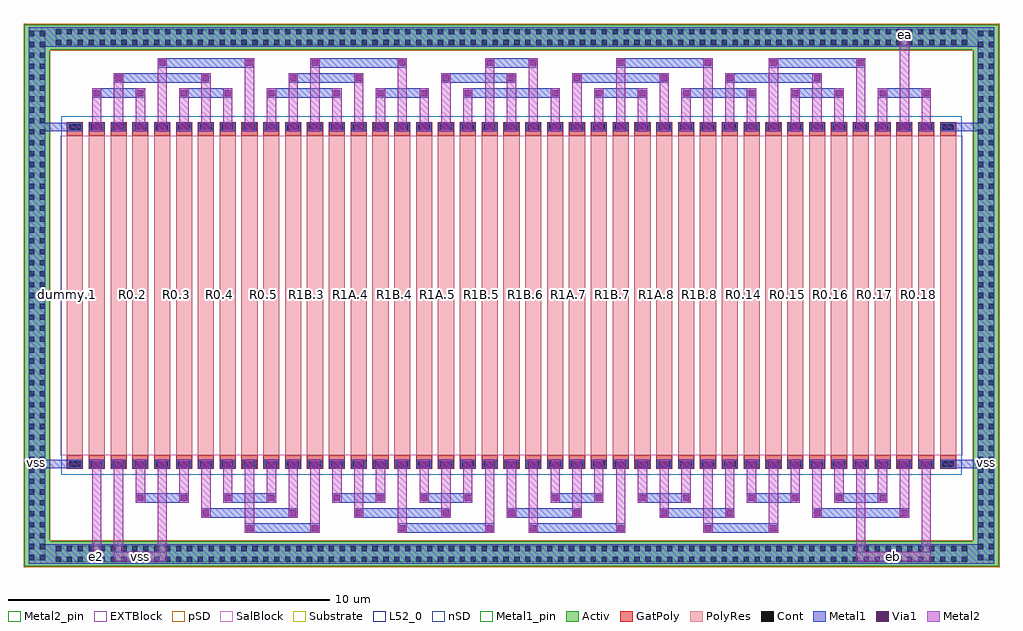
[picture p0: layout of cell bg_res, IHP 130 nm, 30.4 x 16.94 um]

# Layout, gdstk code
import gdstk
lib = gdstk.Library(unit=1e-6, precision=1e-09)
def R(c, l, rs):  # rectangles x0, y0, x1, y1
    for r in rs: c.add(gdstk.rectangle(r[:2], r[2:], *l))
def A(c, l, x, y, w, h, nx, ny, dx, dy):  # array of equal rectangles
    R(c, l, [(x+i*dx, y+j*dy, x+i*dx+w, y+j*dy+h) for i in range(nx) for j in range(ny)])
Activ = (1, 0)
GatPoly = (5, 0)
Cont = (6, 0)
nSD = (7, 0)
Metal1 = (8, 0)
Metal1_pin = (8, 2)
Metal2 = (10, 0)
Metal2_pin = (10, 2)
pSD = (14, 0)
Via1 = (19, 0)
SalBlock = (28, 0)
Substrate = (40, 0)
L52_0 = (52, 0)
EXTBlock = (111, 0)
PolyRes = (128, 0)

rhigh_1 = lib.new_cell('rhigh$1')
R(rhigh_1, GatPoly, [(0,-0.43,0.5,0), (0,9.94,0.5,10.37)])
R(rhigh_1, Cont, [(0.07,-0.36,0.43,-0.2), (0.07,10.14,0.43,10.3)])
R(rhigh_1, nSD, [(-0.18,-0.61,0.68,0.18), (-0.18,0,0.68,9.94), (-0.18,0,0.68,9.94), (-0.18,9.76,0.68,10.55)])
R(rhigh_1, Metal1, [(0.02,-0.41,0.48,-0.15), (0.02,10.09,0.48,10.35)])
R(rhigh_1, Metal1_pin, [(0.02,-0.41,0.48,-0.15), (0.02,10.09,0.48,10.35)])
R(rhigh_1, pSD, [(-0.18,-0.61,0.68,0.18), (-0.18,0,0.68,9.94), (-0.18,0,0.68,9.94), (-0.18,9.76,0.68,10.55)])
R(rhigh_1, SalBlock, [(-0.2,0,0.7,9.94)])
R(rhigh_1, L52_0, [(0,0,0.5,9.94)])
R(rhigh_1, EXTBlock, [(-0.18,-0.61,0.68,0.18), (-0.2,0,0.7,9.94), (-0.18,9.76,0.68,10.55)])
R(rhigh_1, PolyRes, [(0,0,0.5,9.94)])
rhigh_1.add(gdstk.Label('rhigh r=29707.826', (0.25,4.97), layer=63, texttype=0))
rhigh_1.add(gdstk.Label('rhigh', (0.25,4.97), layer=52, texttype=0))

ptap1_3 = lib.new_cell('ptap1$3')
R(ptap1_3, Activ, [(0,0,0.78,16.88)])
A(ptap1_3, Cont, 0.14, 0.2, 0.16, 0.16, 1, 49, 0, 0.34)
A(ptap1_3, Cont, 0.48, 0.2, 0.16, 0.16, 1, 49, 0, 0.34)
R(ptap1_3, Metal1, [(0.14,0.15,0.64,16.73), (0.14,0.2,0.64,16.68)])
R(ptap1_3, Metal1_pin, [(0.14,0.2,0.64,16.68)])
R(ptap1_3, pSD, [(-0.03,-0.03,0.81,16.91)])
R(ptap1_3, Substrate, [(0,0,0.78,16.88)])
ptap1_3.add(gdstk.Label('sub!', (0.39,0.01), layer=63, texttype=0))
ptap1_3.add(gdstk.Label('sub!', (0.39,0.01), layer=40, texttype=0))

ptap1_1 = lib.new_cell('ptap1$1')
R(ptap1_1, Activ, [(0,0,28.78,0.78)])
A(ptap1_1, Cont, 0.2, 0.14, 0.16, 0.16, 84, 2, 0.34, 0.34)
R(ptap1_1, Metal1, [(0.2,0.09,28.58,0.69), (0.2,0.14,28.58,0.64)])
R(ptap1_1, Metal1_pin, [(0.2,0.14,28.58,0.64)])
R(ptap1_1, pSD, [(-0.03,-0.03,28.81,0.81)])
R(ptap1_1, Substrate, [(0,0,28.78,0.78)])
ptap1_1.add(gdstk.Label('sub!', (14.39,0.01), layer=63, texttype=0))
ptap1_1.add(gdstk.Label('sub!', (14.39,0.01), layer=40, texttype=0))

bg_res = lib.new_cell('bg_res')
R(bg_res, Metal1, [(-1.18,-3.38,28.88,-3.32), (-0.78,-3.38,-0.24,-2.78), (27.94,-3.38,28.48,-2.78), (-0.78,-0.41,0.33,-0.15), (27.37,-0.41,28.48,-0.15), (-0.78,10.09,0.33,10.35), (27.37,10.09,28.48,10.35), (-0.78,12.72,-0.24,13.32), (27.94,12.72,28.48,13.32), (-1.18,13.26,28.88,13.32)])
R(bg_res, Metal1_pin, [(-1.18,-0.435,-0.68,-0.035), (28.38,-0.435,28.88,-0.035)])
R(bg_res, Metal2_pin, [(0.785,-3.305,1.075,-3.015), (1.465,-3.305,3.115,-3.015), (24.585,-3.305,26.915,-3.015), (25.945,12.955,26.235,13.245)])
A(bg_res, Via1, 7.635, -2.37, 0.19, 0.19, 3, 2, 2.72, 14.49)
A(bg_res, Via1, 14.435, -2.37, 0.19, 0.19, 3, 2, 2.72, 14.49)
A(bg_res, Via1, 11.715, -1.9, 0.19, 0.19, 3, 2, 2.04, 13.55)
A(bg_res, Via1, 20.555, -1.9, 0.19, 0.19, 3, 1, 2.72, 0)
A(bg_res, Via1, 2.195, -1.43, 0.19, 0.19, 4, 1, 1.36, 0)
A(bg_res, Via1, 8.315, -1.43, 0.19, 0.19, 4, 2, 1.36, 12.61)
A(bg_res, Via1, 15.115, -1.43, 0.19, 0.19, 4, 2, 1.36, 12.61)
A(bg_res, Via1, 21.235, -1.43, 0.19, 0.19, 4, 1, 1.36, 0)
A(bg_res, Via1, 0.835, -0.375, 0.19, 0.19, 39, 2, 0.68, 10.5)
A(bg_res, Via1, 0.835, 11.18, 0.19, 0.19, 5, 1, 1.36, 0)
A(bg_res, Via1, 21.235, 11.18, 0.19, 0.19, 5, 1, 1.36, 0)
A(bg_res, Via1, 1.515, 11.65, 0.19, 0.19, 3, 1, 2.72, 0)
R(bg_res, Via1, [(2.195,-3.255,2.385,-3.065), (5.595,-2.37,5.785,-2.18), (21.915,-2.37,22.105,-2.18), (4.235,-1.9,4.425,-1.71), (6.955,-1.9,7.145,-1.71), (8.995,-1.9,9.185,-1.71), (18.515,-1.9,18.705,-1.71), (8.995,11.65,9.185,11.84), (18.515,11.65,18.705,11.84), (20.555,11.65,20.745,11.84), (23.275,11.65,23.465,11.84), (2.875,12.12,3.065,12.31), (5.595,12.12,5.785,12.31), (21.915,12.12,22.105,12.31), (24.635,12.12,24.825,12.31)])
bg_res.add(gdstk.FlexPath([(0.93,11.275),(2.29,11.275)], 0.29, ends="extended", simple_path=True, layer=8, datatype=0))  # Metal1
bg_res.add(gdstk.FlexPath([(2.29,-1.335),(3.65,-1.335)], 0.29, ends="extended", simple_path=True, layer=8, datatype=0))  # Metal1
bg_res.add(gdstk.FlexPath([(3.65,11.275),(5.01,11.275)], 0.29, ends="extended", simple_path=True, layer=8, datatype=0))  # Metal1
bg_res.add(gdstk.FlexPath([(5.01,-1.335),(6.37,-1.335)], 0.29, ends="extended", simple_path=True, layer=8, datatype=0))  # Metal1
bg_res.add(gdstk.FlexPath([(6.37,11.275),(8.41,11.275)], 0.29, ends="extended", simple_path=True, layer=8, datatype=0))  # Metal1
bg_res.add(gdstk.FlexPath([(8.41,-1.335),(9.77,-1.335)], 0.29, ends="extended", simple_path=True, layer=8, datatype=0))  # Metal1
bg_res.add(gdstk.FlexPath([(9.77,11.275),(11.13,11.275)], 0.29, ends="extended", simple_path=True, layer=8, datatype=0))  # Metal1
bg_res.add(gdstk.FlexPath([(11.13,-1.335),(12.49,-1.335)], 0.29, ends="extended", simple_path=True, layer=8, datatype=0))  # Metal1
bg_res.add(gdstk.FlexPath([(12.49,11.275),(15.21,11.275)], 0.29, ends="extended", simple_path=True, layer=8, datatype=0))  # Metal1
bg_res.add(gdstk.FlexPath([(15.21,-1.335),(16.57,-1.335)], 0.29, ends="extended", simple_path=True, layer=8, datatype=0))  # Metal1
bg_res.add(gdstk.FlexPath([(16.57,11.275),(17.93,11.275)], 0.29, ends="extended", simple_path=True, layer=8, datatype=0))  # Metal1
bg_res.add(gdstk.FlexPath([(17.93,-1.335),(19.29,-1.335)], 0.29, ends="extended", simple_path=True, layer=8, datatype=0))  # Metal1
bg_res.add(gdstk.FlexPath([(19.29,11.275),(21.33,11.275)], 0.29, ends="extended", simple_path=True, layer=8, datatype=0))  # Metal1
bg_res.add(gdstk.FlexPath([(21.33,-1.335),(22.69,-1.335)], 0.29, ends="extended", simple_path=True, layer=8, datatype=0))  # Metal1
bg_res.add(gdstk.FlexPath([(22.69,11.275),(24.05,11.275)], 0.29, ends="extended", simple_path=True, layer=8, datatype=0))  # Metal1
bg_res.add(gdstk.FlexPath([(24.05,-1.335),(25.41,-1.335)], 0.29, ends="extended", simple_path=True, layer=8, datatype=0))  # Metal1
bg_res.add(gdstk.FlexPath([(25.41,11.275),(26.77,11.275)], 0.29, ends="extended", simple_path=True, layer=8, datatype=0))  # Metal1
bg_res.add(gdstk.FlexPath([(1.61,11.745),(4.33,11.745)], 0.29, ends="extended", simple_path=True, layer=8, datatype=0))  # Metal1
bg_res.add(gdstk.FlexPath([(4.33,-1.805),(7.05,-1.805)], 0.29, ends="extended", simple_path=True, layer=8, datatype=0))  # Metal1
bg_res.add(gdstk.FlexPath([(7.05,11.745),(9.09,11.745)], 0.29, ends="extended", simple_path=True, layer=8, datatype=0))  # Metal1
bg_res.add(gdstk.FlexPath([(9.09,-1.805),(11.81,-1.805)], 0.29, ends="extended", simple_path=True, layer=8, datatype=0))  # Metal1
bg_res.add(gdstk.FlexPath([(11.81,11.745),(13.85,11.745)], 0.29, ends="extended", simple_path=True, layer=8, datatype=0))  # Metal1
bg_res.add(gdstk.FlexPath([(13.85,-1.805),(15.89,-1.805)], 0.29, ends="extended", simple_path=True, layer=8, datatype=0))  # Metal1
bg_res.add(gdstk.FlexPath([(15.89,11.745),(18.61,11.745)], 0.29, ends="extended", simple_path=True, layer=8, datatype=0))  # Metal1
bg_res.add(gdstk.FlexPath([(18.61,-1.805),(20.65,-1.805)], 0.29, ends="extended", simple_path=True, layer=8, datatype=0))  # Metal1
bg_res.add(gdstk.FlexPath([(20.65,11.745),(23.37,11.745)], 0.29, ends="extended", simple_path=True, layer=8, datatype=0))  # Metal1
bg_res.add(gdstk.FlexPath([(23.37,-1.805),(26.09,-1.805)], 0.29, ends="extended", simple_path=True, layer=8, datatype=0))  # Metal1
bg_res.add(gdstk.FlexPath([(2.97,12.215),(5.69,12.215)], 0.29, ends="extended", simple_path=True, layer=8, datatype=0))  # Metal1
bg_res.add(gdstk.FlexPath([(5.69,-2.275),(7.73,-2.275)], 0.29, ends="extended", simple_path=True, layer=8, datatype=0))  # Metal1
bg_res.add(gdstk.FlexPath([(7.73,12.215),(10.45,12.215)], 0.29, ends="extended", simple_path=True, layer=8, datatype=0))  # Metal1
bg_res.add(gdstk.FlexPath([(10.45,-2.275),(13.17,-2.275)], 0.29, ends="extended", simple_path=True, layer=8, datatype=0))  # Metal1
bg_res.add(gdstk.FlexPath([(13.17,12.215),(14.53,12.215)], 0.29, ends="extended", simple_path=True, layer=8, datatype=0))  # Metal1
bg_res.add(gdstk.FlexPath([(14.53,-2.275),(17.25,-2.275)], 0.29, ends="extended", simple_path=True, layer=8, datatype=0))  # Metal1
bg_res.add(gdstk.FlexPath([(17.25,12.215),(19.97,12.215)], 0.29, ends="extended", simple_path=True, layer=8, datatype=0))  # Metal1
bg_res.add(gdstk.FlexPath([(19.97,-2.275),(22.01,-2.275)], 0.29, ends="extended", simple_path=True, layer=8, datatype=0))  # Metal1
bg_res.add(gdstk.FlexPath([(22.01,12.215),(24.73,12.215)], 0.29, ends="extended", simple_path=True, layer=8, datatype=0))  # Metal1
bg_res.add(gdstk.FlexPath([(0.93,10.22),(0.93,11.275)], 0.29, ends="extended", simple_path=True, layer=10, datatype=0))  # Metal2
bg_res.add(gdstk.FlexPath([(2.29,10.22),(2.29,11.275)], 0.29, ends="extended", simple_path=True, layer=10, datatype=0))  # Metal2
bg_res.add(gdstk.FlexPath([(2.29,-0.28),(2.29,-1.335)], 0.29, ends="extended", simple_path=True, layer=10, datatype=0))  # Metal2
bg_res.add(gdstk.FlexPath([(3.65,-0.28),(3.65,-1.335)], 0.29, ends="extended", simple_path=True, layer=10, datatype=0))  # Metal2
bg_res.add(gdstk.FlexPath([(3.65,10.22),(3.65,11.275)], 0.29, ends="extended", simple_path=True, layer=10, datatype=0))  # Metal2
bg_res.add(gdstk.FlexPath([(5.01,10.22),(5.01,11.275)], 0.29, ends="extended", simple_path=True, layer=10, datatype=0))  # Metal2
bg_res.add(gdstk.FlexPath([(5.01,-0.28),(5.01,-1.335)], 0.29, ends="extended", simple_path=True, layer=10, datatype=0))  # Metal2
bg_res.add(gdstk.FlexPath([(6.37,-0.28),(6.37,-1.335)], 0.29, ends="extended", simple_path=True, layer=10, datatype=0))  # Metal2
bg_res.add(gdstk.FlexPath([(6.37,10.22),(6.37,11.275)], 0.29, ends="extended", simple_path=True, layer=10, datatype=0))  # Metal2
bg_res.add(gdstk.FlexPath([(8.41,10.22),(8.41,11.275)], 0.29, ends="extended", simple_path=True, layer=10, datatype=0))  # Metal2
bg_res.add(gdstk.FlexPath([(8.41,-0.28),(8.41,-1.335)], 0.29, ends="extended", simple_path=True, layer=10, datatype=0))  # Metal2
bg_res.add(gdstk.FlexPath([(9.77,-0.28),(9.77,-1.335)], 0.29, ends="extended", simple_path=True, layer=10, datatype=0))  # Metal2
bg_res.add(gdstk.FlexPath([(9.77,10.22),(9.77,11.275)], 0.29, ends="extended", simple_path=True, layer=10, datatype=0))  # Metal2
bg_res.add(gdstk.FlexPath([(11.13,10.22),(11.13,11.275)], 0.29, ends="extended", simple_path=True, layer=10, datatype=0))  # Metal2
bg_res.add(gdstk.FlexPath([(11.13,-0.28),(11.13,-1.335)], 0.29, ends="extended", simple_path=True, layer=10, datatype=0))  # Metal2
bg_res.add(gdstk.FlexPath([(12.49,-0.28),(12.49,-1.335)], 0.29, ends="extended", simple_path=True, layer=10, datatype=0))  # Metal2
bg_res.add(gdstk.FlexPath([(12.49,10.22),(12.49,11.275)], 0.29, ends="extended", simple_path=True, layer=10, datatype=0))  # Metal2
bg_res.add(gdstk.FlexPath([(15.21,10.22),(15.21,11.275)], 0.29, ends="extended", simple_path=True, layer=10, datatype=0))  # Metal2
bg_res.add(gdstk.FlexPath([(15.21,-0.28),(15.21,-1.335)], 0.29, ends="extended", simple_path=True, layer=10, datatype=0))  # Metal2
bg_res.add(gdstk.FlexPath([(16.57,-0.28),(16.57,-1.335)], 0.29, ends="extended", simple_path=True, layer=10, datatype=0))  # Metal2
bg_res.add(gdstk.FlexPath([(16.57,10.22),(16.57,11.275)], 0.29, ends="extended", simple_path=True, layer=10, datatype=0))  # Metal2
bg_res.add(gdstk.FlexPath([(17.93,10.22),(17.93,11.275)], 0.29, ends="extended", simple_path=True, layer=10, datatype=0))  # Metal2
bg_res.add(gdstk.FlexPath([(17.93,-0.28),(17.93,-1.335)], 0.29, ends="extended", simple_path=True, layer=10, datatype=0))  # Metal2
bg_res.add(gdstk.FlexPath([(19.29,-0.28),(19.29,-1.335)], 0.29, ends="extended", simple_path=True, layer=10, datatype=0))  # Metal2
bg_res.add(gdstk.FlexPath([(19.29,10.22),(19.29,11.275)], 0.29, ends="extended", simple_path=True, layer=10, datatype=0))  # Metal2
bg_res.add(gdstk.FlexPath([(21.33,10.22),(21.33,11.275)], 0.29, ends="extended", simple_path=True, layer=10, datatype=0))  # Metal2
bg_res.add(gdstk.FlexPath([(21.33,-0.28),(21.33,-1.335)], 0.29, ends="extended", simple_path=True, layer=10, datatype=0))  # Metal2
bg_res.add(gdstk.FlexPath([(22.69,-0.28),(22.69,-1.335)], 0.29, ends="extended", simple_path=True, layer=10, datatype=0))  # Metal2
bg_res.add(gdstk.FlexPath([(22.69,10.22),(22.69,11.275)], 0.29, ends="extended", simple_path=True, layer=10, datatype=0))  # Metal2
bg_res.add(gdstk.FlexPath([(24.05,10.22),(24.05,11.275)], 0.29, ends="extended", simple_path=True, layer=10, datatype=0))  # Metal2
bg_res.add(gdstk.FlexPath([(24.05,-0.28),(24.05,-1.335)], 0.29, ends="extended", simple_path=True, layer=10, datatype=0))  # Metal2
bg_res.add(gdstk.FlexPath([(25.41,-0.28),(25.41,-1.335)], 0.29, ends="extended", simple_path=True, layer=10, datatype=0))  # Metal2
bg_res.add(gdstk.FlexPath([(25.41,10.22),(25.41,11.275)], 0.29, ends="extended", simple_path=True, layer=10, datatype=0))  # Metal2
bg_res.add(gdstk.FlexPath([(26.77,10.22),(26.77,11.275)], 0.29, ends="extended", simple_path=True, layer=10, datatype=0))  # Metal2
bg_res.add(gdstk.FlexPath([(1.61,10.22),(1.61,11.745)], 0.29, ends="extended", simple_path=True, layer=10, datatype=0))  # Metal2
bg_res.add(gdstk.FlexPath([(4.33,10.22),(4.33,11.745)], 0.29, ends="extended", simple_path=True, layer=10, datatype=0))  # Metal2
bg_res.add(gdstk.FlexPath([(4.33,-0.28),(4.33,-1.805)], 0.29, ends="extended", simple_path=True, layer=10, datatype=0))  # Metal2
bg_res.add(gdstk.FlexPath([(7.05,-0.28),(7.05,-1.805)], 0.29, ends="extended", simple_path=True, layer=10, datatype=0))  # Metal2
bg_res.add(gdstk.FlexPath([(7.05,10.22),(7.05,11.745)], 0.29, ends="extended", simple_path=True, layer=10, datatype=0))  # Metal2
bg_res.add(gdstk.FlexPath([(9.09,10.22),(9.09,11.745)], 0.29, ends="extended", simple_path=True, layer=10, datatype=0))  # Metal2
bg_res.add(gdstk.FlexPath([(9.09,-0.28),(9.09,-1.805)], 0.29, ends="extended", simple_path=True, layer=10, datatype=0))  # Metal2
bg_res.add(gdstk.FlexPath([(11.81,-0.28),(11.81,-1.805)], 0.29, ends="extended", simple_path=True, layer=10, datatype=0))  # Metal2
bg_res.add(gdstk.FlexPath([(11.81,10.22),(11.81,11.745)], 0.29, ends="extended", simple_path=True, layer=10, datatype=0))  # Metal2
bg_res.add(gdstk.FlexPath([(13.85,10.22),(13.85,11.745)], 0.29, ends="extended", simple_path=True, layer=10, datatype=0))  # Metal2
bg_res.add(gdstk.FlexPath([(13.85,-0.28),(13.85,-1.805)], 0.29, ends="extended", simple_path=True, layer=10, datatype=0))  # Metal2
bg_res.add(gdstk.FlexPath([(15.89,-0.28),(15.89,-1.805)], 0.29, ends="extended", simple_path=True, layer=10, datatype=0))  # Metal2
bg_res.add(gdstk.FlexPath([(15.89,10.22),(15.89,11.745)], 0.29, ends="extended", simple_path=True, layer=10, datatype=0))  # Metal2
bg_res.add(gdstk.FlexPath([(18.61,10.22),(18.61,11.745)], 0.29, ends="extended", simple_path=True, layer=10, datatype=0))  # Metal2
bg_res.add(gdstk.FlexPath([(18.61,-0.28),(18.61,-1.805)], 0.29, ends="extended", simple_path=True, layer=10, datatype=0))  # Metal2
bg_res.add(gdstk.FlexPath([(20.65,-0.28),(20.65,-1.805)], 0.29, ends="extended", simple_path=True, layer=10, datatype=0))  # Metal2
bg_res.add(gdstk.FlexPath([(20.65,10.22),(20.65,11.745)], 0.29, ends="extended", simple_path=True, layer=10, datatype=0))  # Metal2
bg_res.add(gdstk.FlexPath([(23.37,10.22),(23.37,11.745)], 0.29, ends="extended", simple_path=True, layer=10, datatype=0))  # Metal2
bg_res.add(gdstk.FlexPath([(23.37,-0.28),(23.37,-1.805)], 0.29, ends="extended", simple_path=True, layer=10, datatype=0))  # Metal2
bg_res.add(gdstk.FlexPath([(26.09,-0.28),(26.09,-1.805)], 0.29, ends="extended", simple_path=True, layer=10, datatype=0))  # Metal2
bg_res.add(gdstk.FlexPath([(2.97,10.22),(2.97,12.215)], 0.29, ends="extended", simple_path=True, layer=10, datatype=0))  # Metal2
bg_res.add(gdstk.FlexPath([(5.69,10.22),(5.69,12.215)], 0.29, ends="extended", simple_path=True, layer=10, datatype=0))  # Metal2
bg_res.add(gdstk.FlexPath([(5.69,-0.28),(5.69,-2.275)], 0.29, ends="extended", simple_path=True, layer=10, datatype=0))  # Metal2
bg_res.add(gdstk.FlexPath([(7.73,-0.28),(7.73,-2.275)], 0.29, ends="extended", simple_path=True, layer=10, datatype=0))  # Metal2
bg_res.add(gdstk.FlexPath([(7.73,10.22),(7.73,12.215)], 0.29, ends="extended", simple_path=True, layer=10, datatype=0))  # Metal2
bg_res.add(gdstk.FlexPath([(10.45,10.22),(10.45,12.215)], 0.29, ends="extended", simple_path=True, layer=10, datatype=0))  # Metal2
bg_res.add(gdstk.FlexPath([(10.45,-0.28),(10.45,-2.275)], 0.29, ends="extended", simple_path=True, layer=10, datatype=0))  # Metal2
bg_res.add(gdstk.FlexPath([(13.17,-0.28),(13.17,-2.275)], 0.29, ends="extended", simple_path=True, layer=10, datatype=0))  # Metal2
bg_res.add(gdstk.FlexPath([(13.17,10.22),(13.17,12.215)], 0.29, ends="extended", simple_path=True, layer=10, datatype=0))  # Metal2
bg_res.add(gdstk.FlexPath([(14.53,10.22),(14.53,12.215)], 0.29, ends="extended", simple_path=True, layer=10, datatype=0))  # Metal2
bg_res.add(gdstk.FlexPath([(14.53,-0.28),(14.53,-2.275)], 0.29, ends="extended", simple_path=True, layer=10, datatype=0))  # Metal2
bg_res.add(gdstk.FlexPath([(17.25,-0.28),(17.25,-2.275)], 0.29, ends="extended", simple_path=True, layer=10, datatype=0))  # Metal2
bg_res.add(gdstk.FlexPath([(17.25,10.22),(17.25,12.215)], 0.29, ends="extended", simple_path=True, layer=10, datatype=0))  # Metal2
bg_res.add(gdstk.FlexPath([(19.97,10.22),(19.97,12.215)], 0.29, ends="extended", simple_path=True, layer=10, datatype=0))  # Metal2
bg_res.add(gdstk.FlexPath([(19.97,-0.28),(19.97,-2.275)], 0.29, ends="extended", simple_path=True, layer=10, datatype=0))  # Metal2
bg_res.add(gdstk.FlexPath([(22.01,-0.28),(22.01,-2.275)], 0.29, ends="extended", simple_path=True, layer=10, datatype=0))  # Metal2
bg_res.add(gdstk.FlexPath([(22.01,10.22),(22.01,12.215)], 0.29, ends="extended", simple_path=True, layer=10, datatype=0))  # Metal2
bg_res.add(gdstk.FlexPath([(24.73,10.22),(24.73,12.215)], 0.29, ends="extended", simple_path=True, layer=10, datatype=0))  # Metal2
bg_res.add(gdstk.FlexPath([(0.93,-0.28),(0.93,-3.16)], 0.29, ends="extended", simple_path=True, layer=10, datatype=0))  # Metal2
bg_res.add(gdstk.FlexPath([(1.61,-0.28),(1.61,-3.16)], 0.29, ends="extended", simple_path=True, layer=10, datatype=0))  # Metal2
bg_res.add(gdstk.FlexPath([(2.97,-0.28),(2.97,-3.16)], 0.29, ends="extended", simple_path=True, layer=10, datatype=0))  # Metal2
bg_res.add(gdstk.FlexPath([(1.61,-3.16),(2.97,-3.16)], 0.29, ends="extended", simple_path=True, layer=10, datatype=0))  # Metal2
bg_res.add(gdstk.FlexPath([(26.77,-0.28),(26.77,-3.16)], 0.29, ends="extended", simple_path=True, layer=10, datatype=0))  # Metal2
bg_res.add(gdstk.FlexPath([(24.73,-0.28),(24.73,-3.16)], 0.29, ends="extended", simple_path=True, layer=10, datatype=0))  # Metal2
bg_res.add(gdstk.FlexPath([(24.73,-3.16),(26.77,-3.16)], 0.29, ends="extended", simple_path=True, layer=10, datatype=0))  # Metal2
bg_res.add(gdstk.FlexPath([(26.09,10.22),(26.09,13.1)], 0.29, ends="extended", simple_path=True, layer=10, datatype=0))  # Metal2
bg_res.add(gdstk.Reference(rhigh_1, (0,0)))
bg_res.add(gdstk.Reference(rhigh_1, (0.68,0)))
bg_res.add(gdstk.Reference(rhigh_1, (1.36,0)))
bg_res.add(gdstk.Reference(rhigh_1, (2.04,0)))
bg_res.add(gdstk.Reference(rhigh_1, (2.72,0)))
bg_res.add(gdstk.Reference(rhigh_1, (3.4,0)))
bg_res.add(gdstk.Reference(rhigh_1, (4.08,0)))
bg_res.add(gdstk.Reference(rhigh_1, (4.76,0)))
bg_res.add(gdstk.Reference(rhigh_1, (5.44,0)))
bg_res.add(gdstk.Reference(rhigh_1, (6.12,0)))
bg_res.add(gdstk.Reference(rhigh_1, (6.8,0)))
bg_res.add(gdstk.Reference(rhigh_1, (7.48,0)))
bg_res.add(gdstk.Reference(rhigh_1, (8.16,0)))
bg_res.add(gdstk.Reference(rhigh_1, (8.84,0)))
bg_res.add(gdstk.Reference(rhigh_1, (9.52,0)))
bg_res.add(gdstk.Reference(rhigh_1, (10.2,0)))
bg_res.add(gdstk.Reference(rhigh_1, (10.88,0)))
bg_res.add(gdstk.Reference(rhigh_1, (11.56,0)))
bg_res.add(gdstk.Reference(rhigh_1, (12.24,0)))
bg_res.add(gdstk.Reference(rhigh_1, (12.92,0)))
bg_res.add(gdstk.Reference(rhigh_1, (13.6,0)))
bg_res.add(gdstk.Reference(rhigh_1, (14.28,0)))
bg_res.add(gdstk.Reference(rhigh_1, (14.96,0)))
bg_res.add(gdstk.Reference(rhigh_1, (15.64,0)))
bg_res.add(gdstk.Reference(rhigh_1, (16.32,0)))
bg_res.add(gdstk.Reference(rhigh_1, (17,0)))
bg_res.add(gdstk.Reference(rhigh_1, (17.68,0)))
bg_res.add(gdstk.Reference(rhigh_1, (18.36,0)))
bg_res.add(gdstk.Reference(rhigh_1, (19.04,0)))
bg_res.add(gdstk.Reference(rhigh_1, (19.72,0)))
bg_res.add(gdstk.Reference(rhigh_1, (20.4,0)))
bg_res.add(gdstk.Reference(rhigh_1, (21.08,0)))
bg_res.add(gdstk.Reference(rhigh_1, (21.76,0)))
bg_res.add(gdstk.Reference(rhigh_1, (22.44,0)))
bg_res.add(gdstk.Reference(rhigh_1, (23.12,0)))
bg_res.add(gdstk.Reference(rhigh_1, (23.8,0)))
bg_res.add(gdstk.Reference(rhigh_1, (24.48,0)))
bg_res.add(gdstk.Reference(rhigh_1, (25.16,0)))
bg_res.add(gdstk.Reference(rhigh_1, (25.84,0)))
bg_res.add(gdstk.Reference(rhigh_1, (26.52,0)))
bg_res.add(gdstk.Reference(rhigh_1, (27.2,0)))
bg_res.add(gdstk.Reference(ptap1_3, (-1.32,-3.47)))
bg_res.add(gdstk.Reference(ptap1_3, (28.24,-3.47)))
bg_res.add(gdstk.Reference(ptap1_1, (-0.54,12.63)))
bg_res.add(gdstk.Reference(ptap1_1, (-0.54,-3.47)))
bg_res.add(gdstk.Label('dummy.1', (0,5), layer=63, texttype=0))
bg_res.add(gdstk.Label('R0.1', (0.68,5), layer=63, texttype=0))
bg_res.add(gdstk.Label('R1A.1', (1.36,5), layer=63, texttype=0))
bg_res.add(gdstk.Label('R0.2', (2.04,5), layer=63, texttype=0))
bg_res.add(gdstk.Label('R1B.1', (2.72,5), layer=63, texttype=0))
bg_res.add(gdstk.Label('R0.3', (3.4,5), layer=63, texttype=0))
bg_res.add(gdstk.Label('R1A.2', (4.08,5), layer=63, texttype=0))
bg_res.add(gdstk.Label('R0.4', (4.76,5), layer=63, texttype=0))
bg_res.add(gdstk.Label('R1B.2', (5.44,5), layer=63, texttype=0))
bg_res.add(gdstk.Label('R0.5', (6.12,5), layer=63, texttype=0))
bg_res.add(gdstk.Label('R1A.3', (6.8,5), layer=63, texttype=0))
bg_res.add(gdstk.Label('R1B.3', (7.48,5), layer=63, texttype=0))
bg_res.add(gdstk.Label('R0.6', (8.16,5), layer=63, texttype=0))
bg_res.add(gdstk.Label('R1A.4', (8.84,5), layer=63, texttype=0))
bg_res.add(gdstk.Label('R0.7', (9.52,5), layer=63, texttype=0))
bg_res.add(gdstk.Label('R1B.4', (10.2,5), layer=63, texttype=0))
bg_res.add(gdstk.Label('R0.8', (10.88,5), layer=63, texttype=0))
bg_res.add(gdstk.Label('R1A.5', (11.56,5), layer=63, texttype=0))
bg_res.add(gdstk.Label('R0.9', (12.24,5), layer=63, texttype=0))
bg_res.add(gdstk.Label('R1B.5', (12.92,5), layer=63, texttype=0))
bg_res.add(gdstk.Label('R1A.6', (13.6,5), layer=63, texttype=0))
bg_res.add(gdstk.Label('R1B.6', (14.28,5), layer=63, texttype=0))
bg_res.add(gdstk.Label('R0.10', (14.96,5), layer=63, texttype=0))
bg_res.add(gdstk.Label('R1A.7', (15.64,5), layer=63, texttype=0))
bg_res.add(gdstk.Label('R0.11', (16.32,5), layer=63, texttype=0))
bg_res.add(gdstk.Label('R1B.7', (17,5), layer=63, texttype=0))
bg_res.add(gdstk.Label('R0.12', (17.68,5), layer=63, texttype=0))
bg_res.add(gdstk.Label('R1A.8', (18.36,5), layer=63, texttype=0))
bg_res.add(gdstk.Label('R0.13', (19.04,5), layer=63, texttype=0))
bg_res.add(gdstk.Label('R1B.8', (19.72,5), layer=63, texttype=0))
bg_res.add(gdstk.Label('R1A.9', (20.4,5), layer=63, texttype=0))
bg_res.add(gdstk.Label('R0.14', (21.08,5), layer=63, texttype=0))
bg_res.add(gdstk.Label('R1B.9', (21.76,5), layer=63, texttype=0))
bg_res.add(gdstk.Label('R0.15', (22.44,5), layer=63, texttype=0))
bg_res.add(gdstk.Label('R1A.10', (23.12,5), layer=63, texttype=0))
bg_res.add(gdstk.Label('R0.16', (23.8,5), layer=63, texttype=0))
bg_res.add(gdstk.Label('R1B.10', (24.48,5), layer=63, texttype=0))
bg_res.add(gdstk.Label('R0.17', (25.16,5), layer=63, texttype=0))
bg_res.add(gdstk.Label('R1A.11', (25.84,5), layer=63, texttype=0))
bg_res.add(gdstk.Label('R0.18', (26.52,5), layer=63, texttype=0))
bg_res.add(gdstk.Label('dummy.2', (27.2,5), layer=63, texttype=0))
bg_res.add(gdstk.Label('vss', (-0.93,-0.235), layer=8, texttype=25))
bg_res.add(gdstk.Label('vss', (28.63,-0.235), layer=8, texttype=25))
bg_res.add(gdstk.Label('e2', (0.93,-3.16), layer=10, texttype=25))
bg_res.add(gdstk.Label('vss', (2.29,-3.16), layer=10, texttype=25))
bg_res.add(gdstk.Label('eb', (25.75,-3.16), layer=10, texttype=25))
bg_res.add(gdstk.Label('ea', (26.09,13.1), layer=10, texttype=25))

lib.write_gds('bg_res.gds')
